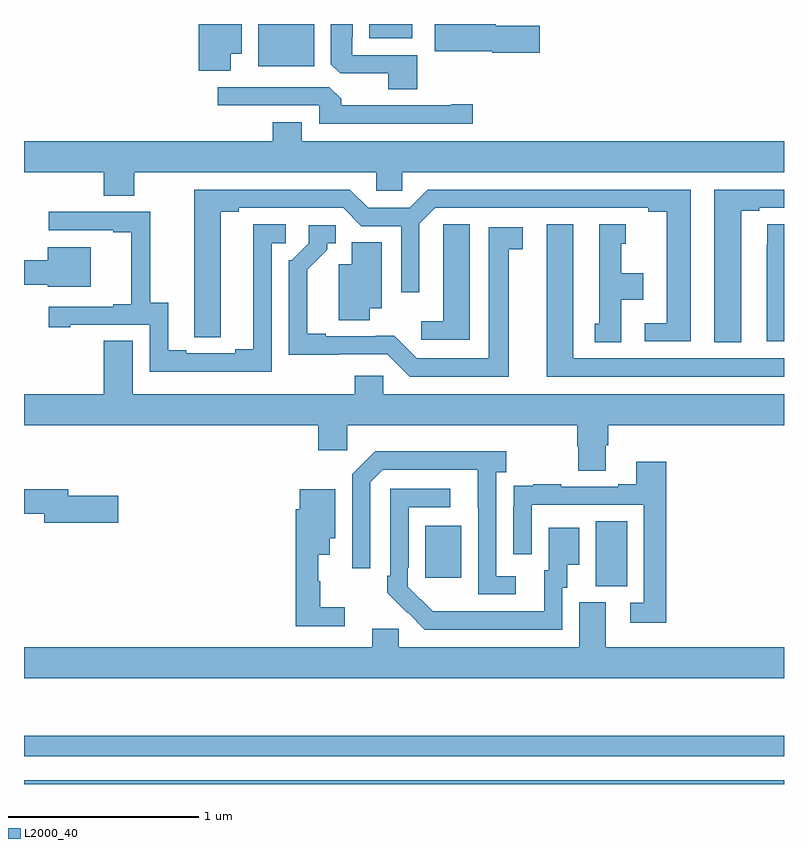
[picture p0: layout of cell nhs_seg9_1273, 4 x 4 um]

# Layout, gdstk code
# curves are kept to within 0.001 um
import gdstk
lib = gdstk.Library(unit=1e-6, precision=1e-09)
def R(c, l, rs):  # rectangles x0, y0, x1, y1
    for r in rs: c.add(gdstk.rectangle(r[:2], r[2:], *l))
def P(c, l, *ps):  # polygons
    for p in ps: c.add(gdstk.Polygon(p, *l))
L2000_40 = (2000, 40)

nhs_seg9_1273 = lib.new_cell('nhs_seg9_1273')
R(nhs_seg9_1273, L2000_40, [(181,1226.5,185,1226.52), (181,1226.646,185,1226.755), (184.01,1227.541,184.174,1227.884), (183.113,1227.585,183.301,1227.859), (182.234,1230.278,182.527,1230.5), (182.816,1230.425,183.043,1230.5)])
P(nhs_seg9_1273, L2000_40, [(183.071,1230.336),(182.727,1230.336),(182.727,1230.433),(182.731,1230.433),(182.731,1230.5),(182.615,1230.5),(182.615,1230.289),(182.664,1230.24),(182.918,1230.24),(182.918,1230.157),(183.071,1230.157)],
  [(183.715,1230.491),(183.482,1230.491),(183.482,1230.5),(183.162,1230.5),(183.162,1230.356),(183.465,1230.356),(183.465,1230.349),(183.715,1230.349)],
  [(182.089,1230.344),(182.146,1230.344),(182.146,1230.5),(181.919,1230.5),(181.919,1230.253),(182.089,1230.253)],
  [(183.361,1230.077),(183.248,1230.077),(183.248,1230.072),(182.669,1230.072),(182.669,1230.106),(182.607,1230.168),(182.019,1230.168),(182.019,1230.072),(182.553,1230.072),(182.553,1229.976),(183.361,1229.976)],
  [(181.581,1229.72),(182.853,1229.72),(182.853,1229.622),(182.991,1229.622),(182.991,1229.72),(185,1229.72),(185,1229.884),(182.461,1229.884),(182.461,1229.983),(182.309,1229.983),(182.309,1229.884),(181,1229.884),(181,1229.72),(181.421,1229.72),(181.421,1229.596),(181.581,1229.596)],
  [(184.774,1229.517),(184.87,1229.517),(184.87,1229.532),(185,1229.532),(185,1229.628),(184.634,1229.628),(184.634,1228.825),(184.774,1228.825)],
  [(184.51,1229.628),(183.125,1229.628),(183.029,1229.532),(182.811,1229.532),(182.715,1229.628),(181.895,1229.628),(181.896,1228.852),(182.035,1228.852),(182.035,1229.512),(182.131,1229.512),(182.131,1229.532),(182.679,1229.532),(182.775,1229.436),(182.985,1229.436),(182.985,1229.088),(183.081,1229.088),(183.081,1229.448),(183.165,1229.532),(184.286,1229.532),(184.286,1229.512),(184.382,1229.512),(184.382,1228.926),(184.266,1228.926),(184.266,1228.83),(184.51,1228.83)],
  [(182.304,1229.346),(182.377,1229.346),(182.377,1229.447),(182.207,1229.447),(182.207,1228.787),(182.111,1228.787),(182.111,1228.767),(181.855,1228.767),(181.855,1228.782),(181.759,1228.782),(181.759,1229.033),(181.665,1229.033),(181.665,1229.511),(181.131,1229.511),(181.131,1229.415),(181.469,1229.415),(181.469,1229.403),(181.565,1229.403),(181.565,1229.026),(181.469,1229.026),(181.469,1229.013),(181.131,1229.013),(181.131,1228.905),(181.243,1228.905),(181.243,1228.917),(181.662,1228.917),(181.662,1228.671),(182.304,1228.671)],
  [(183.346,1229.447),(183.207,1229.447),(183.207,1229.339),(183.206,1229.339),(183.206,1228.936),(183.09,1228.936),(183.09,1228.839),(183.346,1228.839)],
  [(185,1229.447),(184.911,1229.447),(184.911,1229.339),(184.91,1229.339),(184.91,1228.829),(185,1228.829)],
  [(184.144,1229.048),(184.258,1229.048),(184.258,1229.188),(184.144,1229.188),(184.144,1229.343),(184.168,1229.343),(184.168,1229.446),(184.028,1229.446),(184.028,1228.923),(184.004,1228.923),(184.004,1228.825),(184.144,1228.825)],
  [(185,1228.74),(183.892,1228.74),(183.892,1229.446),(183.752,1229.446),(183.752,1228.644),(185,1228.644)],
  [(183.55,1229.314),(183.625,1229.314),(183.625,1229.43),(183.446,1229.43),(183.446,1228.74),(183.066,1228.74),(182.948,1228.858),(182.587,1228.857),(182.587,1228.87),(182.491,1228.87),(182.491,1229.206),(182.596,1229.311),(182.596,1229.346),(182.641,1229.346),(182.641,1229.442),(182.499,1229.442),(182.499,1229.346),(182.409,1229.256),(182.394,1229.256),(182.394,1228.76),(182.913,1228.761),(183.03,1228.644),(183.55,1228.644)],
  [(182.821,1229.003),(182.884,1229.003),(182.884,1229.351),(182.726,1229.351),(182.726,1229.236),(182.657,1229.236),(182.657,1228.942),(182.821,1228.942)],
  [(181.351,1229.326),(181.124,1229.326),(181.124,1229.257),(181,1229.257),(181,1229.128),(181.124,1229.128),(181.124,1229.117),(181.351,1229.117)],
  [(184.063,1228.282),(184.076,1228.282),(184.076,1228.388),(185,1228.388),(185,1228.552),(182.892,1228.552),(182.892,1228.65),(182.741,1228.65),(182.741,1228.552),(181.573,1228.552),(181.573,1228.832),(181.421,1228.832),(181.421,1228.552),(181,1228.552),(181,1228.388),(182.549,1228.388),(182.549,1228.257),(182.7,1228.257),(182.7,1228.388),(183.911,1228.388),(183.911,1228.275),(183.916,1228.275),(183.916,1228.15),(184.063,1228.15)],
  [(183.589,1227.594),(183.486,1227.594),(183.486,1228.142),(183.538,1228.142),(183.538,1228.252),(182.848,1228.252),(182.727,1228.131),(182.727,1227.636),(182.823,1227.636),(182.823,1228.089),(182.889,1228.155),(183.389,1228.155),(183.39,1227.498),(183.589,1227.498)],
  [(184.379,1228.195),(184.223,1228.195),(184.223,1228.078),(184.127,1228.078),(184.127,1228.065),(183.827,1228.065),(183.827,1228.078),(183.679,1228.078),(183.679,1228.071),(183.577,1228.071),(183.577,1227.962),(183.576,1227.962),(183.576,1227.708),(183.672,1227.708),(183.672,1227.969),(184.263,1227.969),(184.263,1227.453),(184.191,1227.453),(184.191,1227.348),(184.379,1227.348)],
  [(183.834,1227.534),(183.859,1227.534),(183.859,1227.653),(183.922,1227.653),(183.922,1227.85),(183.761,1227.85),(183.761,1227.624),(183.737,1227.624),(183.737,1227.408),(183.15,1227.409),(183.021,1227.537),(183.021,1227.637),(183.024,1227.637),(183.024,1227.957),(183.244,1227.957),(183.244,1228.053),(182.928,1228.053),(182.928,1227.595),(182.913,1227.595),(182.913,1227.507),(183.11,1227.312),(183.834,1227.312)],
  [(181.495,1228.017),(181.234,1228.017),(181.234,1228.051),(181,1228.051),(181,1227.922),(181.106,1227.922),(181.106,1227.875),(181.495,1227.875)],
  [(182.689,1227.431),(182.56,1227.431),(182.56,1227.567),(182.549,1227.567),(182.549,1227.707),(182.608,1227.707),(182.608,1227.794),(182.638,1227.794),(182.638,1228.051),(182.45,1228.051),(182.45,1227.947),(182.431,1227.947),(182.431,1227.33),(182.689,1227.33)],
  [(185,1227.22),(184.063,1227.22),(184.063,1227.456),(183.923,1227.456),(183.923,1227.22),(182.973,1227.22),(182.973,1227.318),(182.834,1227.318),(182.834,1227.22),(181,1227.22),(181,1227.056),(185,1227.056)])

lib.write_gds('nhs_seg9_1273.gds')
